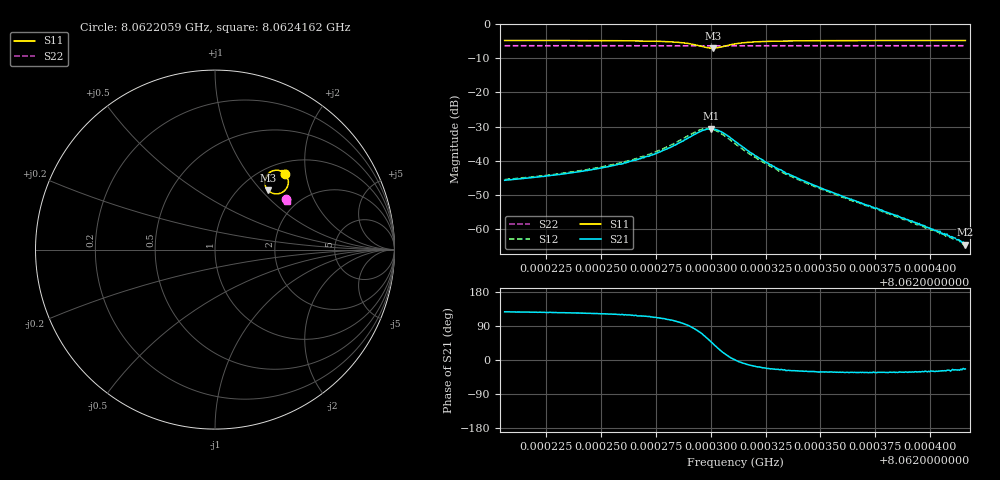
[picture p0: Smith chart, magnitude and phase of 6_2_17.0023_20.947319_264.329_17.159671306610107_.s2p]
#  HZ  S  RI  R  50.00
! Rohde & Schwarz Vector Network Analyzer
! Rohde-Schwarz,ZNB20-2Port,1311601062101988,3.16
! Created: UTC 3/20/2024, 10:52:17 PM
! freq[Hz]  re:S11  im:S11  re:S21  im:S21  re:S12  im:S12  re:S22  im:S22
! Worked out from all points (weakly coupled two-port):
!   401 points, 8.0622059 GHz to 8.0624162 GHz, reference 50 ohm
!   highest |S21| = -30.63 dB at 8.0623 GHz (marker M1); lowest = -64.5 dB at 8.0624162 GHz (marker M2)
!   lowest |S11| = -7.1 dB at 8.0623011 GHz (marker M3), VSWR 2.59, Z = 66.5 + j54.6 ohm
!   |S11| at or under -10 dB: nowhere
!   |S22| runs from -6.4 to -6.3 dB; largest |S21 - S12| = 0.0065
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8.06220594e9  0.3915 0.4211  -0.00314 0.00413  -0.00293 0.00443  0.3932 0.2792
8.06222539e9  0.3948 0.4169  -0.00349 0.00491  -0.00325 0.00522  0.3939 0.2782
8.06224116e9  0.3982 0.4122  -0.00391 0.00584  -0.00361 0.00627  0.3943 0.2772
8.06226165e9  0.404 0.4005  -0.00457 0.00832  -0.00416 0.00894  0.3951 0.2757
8.06226954e9  0.4067 0.3923  -0.00483 0.00994  -0.00417 0.0109  0.3953 0.2748
8.06227637e9  0.4084 0.3812  -0.00481 0.0125  -0.00403 0.0136  0.3954 0.2739
8.06228741e9  0.4018 0.3473  -0.00213 0.0194  0.000302 0.0211  0.3947 0.2719
8.06229424e9  0.3686 0.3159  0.00599 0.0252  0.0112 0.0252  0.3925 0.2712
8.06229739e9  0.3366 0.3107  0.0132 0.0252  0.0188 0.0227  0.3912 0.2718
8.06230002e9  0.3064 0.3213  0.0195 0.022  0.0237 0.0171  0.3903 0.2729
8.06230107e9  0.2961 0.3298  0.0215 0.0198  0.0246 0.0146  0.3903 0.2733
8.0623058e9  0.2769 0.3802  0.024 0.0082  0.0235 0.00349  0.391 0.2755
8.06231106e9  0.2933 0.4199  0.0193 0.000163  0.0177 -0.00234  0.3925 0.276
8.06231736e9  0.3181 0.4375  0.0134 -0.00308  0.0121 -0.00398  0.3939 0.2761
8.06232577e9  0.34 0.4422  0.00864 -0.00355  0.00799 -0.00392  0.3952 0.2755
8.06233418e9  0.3528 0.4416  0.00586 -0.00309  0.0055 -0.00331  0.3959 0.275
8.06234627e9  0.3634 0.4389  0.00389 -0.00229  0.0036 -0.00243  0.3966 0.2739
8.06238149e9  0.3773 0.4326  0.00146 -0.000919  0.00137 -0.000978  0.3981 0.272
8.06240303e9  0.3814 0.4299  0.000821 -0.000462  0.000781 -0.000499  0.3988 0.2706
8.06241039e9  0.3827 0.4291  0.000693 -0.00032  0.000632 -0.000359  0.3992 0.2704
8.06241302e9  0.3831 0.4288  0.00064 -0.000314  0.000622 -0.000318  0.3992 0.2702
8.06241617e9  0.3835 0.4285  0.000547 -0.000239  0.000511 -0.00024  0.3994 0.27
